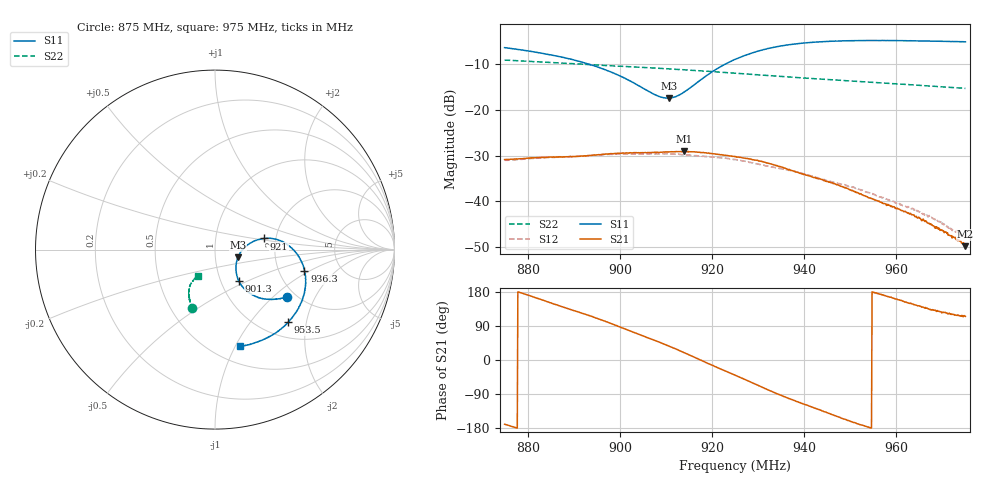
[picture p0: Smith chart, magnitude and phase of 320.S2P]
! C:\Users\rflab\Downloads\Lab5_KD_ZW\Q3\320.S2P
! Touchstone 1.1 file saved by VNA.EXE V1.65 (www.ke5fx.com/gpib/readme.htm)
! 11/18/2024 10:41:02 PM
!  Source: HEWLETT PACKARD,8753D,0,6.14
!  Min freq: 8.750000E+008 Hz
!  Max freq: 9.750200E+008 Hz
!  Points: 801
!  Params: S11 S21 S12 S22
# GHZ S MA R 50
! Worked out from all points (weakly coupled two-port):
!   801 points, 875 MHz to 975 MHz, reference 50 ohm
!   highest |S21| = -29.06 dB at 914 MHz (marker M1); lowest = -49.8 dB at 975 MHz (marker M2)
!   lowest |S11| = -17.4 dB at 910.6 MHz (marker M3), VSWR 1.31, Z = 64.4 - j5.63 ohm
!   |S11| at or under -10 dB: 893.4 MHz to 922.8 MHz (29.48 MHz wide, 3.25 % of centre)
!   |S22| runs from -15.3 to -9.1 dB; largest |S21 - S12| = 0.0061
!   S11 on the Smith chart (normalised r, x): 875 MHz: 1.80, -1.23; 901.3 MHz: 1.22, -0.45; 921 MHz: 1.73, +0.23; 936.3 MHz: 2.78, -0.89; 953.5 MHz: 1.30, -1.57; 975 MHz: 0.67, -1.04
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0.875  0.4801 -33.2  0.0287 -169.5  0.02825 -159.1  0.3511 -111.3
0.8831266  0.4168 -41.7  0.03028 158.6  0.03004 168.2  0.3346 -113.9
0.8917534  0.3342 -49.8  0.03137 123.6  0.03119 131.5  0.318 -116.3
0.8965043  0.2799 -53.0  0.03283 103.5  0.03249 109.9  0.3072 -117.6
0.9012552  0.2203 -52.8  0.0338 81.4  0.03276 87.5  0.2988 -118.8
0.9083817  0.1414 -33.0  0.03442 47.7  0.03326 53.5  0.2859 -120.6
0.9106321  0.1348 -18.6  0.03477 37.1  0.03311 41.8  0.2821 -121.1
0.9121324  0.1397 -8.6  0.03501 29.3  0.03291 34.2  0.2782 -121.4
0.9140078  0.1574 1.6  0.03525 19.3  0.03255 24.9  0.2749 -122.0
0.9178836  0.2188 12.1  0.03419 -2.2  0.03112 5.7  0.2674 -122.8
0.9210092  0.2801 12.8  0.03292 -19.0  0.03044 -9.7  0.261 -123.5
0.92501  0.358 8.6  0.03085 -40.0  0.02878 -30.8  0.2524 -124.2
0.9311362  0.456 -2.9  0.02712 -73.1  0.02497 -61.1  0.24 -124.9
0.9362622  0.5124 -13.3  0.0227 -99.3  0.02221 -85.3  0.2304 -125.1
0.9417633  0.548 -24.2  0.01847 -124.3  0.01902 -111.5  0.2207 -125.3
0.9472645  0.5661 -34.4  0.01522 -149.3  0.01573 -135.1  0.2115 -125.3
0.9535157  0.5752 -44.8  0.01137 -175.4  0.01266 -162.6  0.2027 -125.2
0.9583917  0.5757 -52.3  0.009129 167.1  0.01048 178.5  0.1954 -125.0
0.9631426  0.5716 -59.3  0.007395 150.2  0.008457 157.8  0.1886 -124.6
0.9662683  0.5678 -63.8  0.006017 136.9  0.007064 146.7  0.1845 -124.3
0.969894  0.5633 -68.8  0.004889 124.4  0.005584 134.0  0.1791 -123.7
0.97502  0.5564 -75.7  0.003242 115.1  0.004056 118.3  0.1721 -122.6
